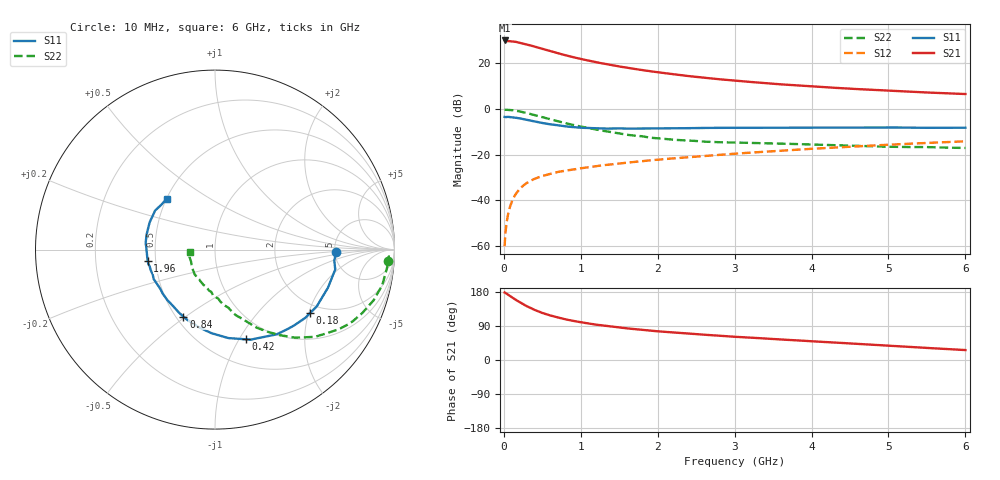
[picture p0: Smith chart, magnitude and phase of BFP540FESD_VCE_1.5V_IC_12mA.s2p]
! Infineon Technologies  Discrete & RF Semiconductors
! BFP540FESD
! VCE =  1.5 V,  IC =  12 mA
! Common Emitter S-Parameters:  Nov 2015
# GHz  S  MA  R  50
!  f  S11  S21  S12  S22
! GHz  MAG  ANG  MAG  ANG  MAG  ANG  MAG  ANG
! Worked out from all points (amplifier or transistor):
!   210 points, 10 MHz to 6 GHz, reference 50 ohm
!   highest |S21| = 30.1 dB at 10 MHz (marker M1)
!   |S21| within 3 dB of that: start of sweep to 431.5 MHz
!   unconditionally stable (mu >= 1): 2.051 GHz to end of sweep
!   at 185 MHz: K = 0.18, MSG = 32.5 dB, |S12| = -35.9 dB
!   at 1.52 GHz: K = 0.88, MSG = 21.2 dB, |S12| = -23.8 dB
!   at 6 GHz: K = 1.20, MAG = 7.6 dB, |S12| = -14.1 dB
!   S11 on the Smith chart (normalised r, x): 10 MHz: 5.16, -0.25; 180 MHz: 1.71, -2.04; 420 MHz: 0.77, -1.07; 840 MHz: 0.54, -0.49; 1.96 GHz: 0.45, -0.06; 6 GHz: 0.50, +0.34
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0.01  0.6759 -1.1  31.83 178.1  0.001 101.9  0.9677 -3.8
0.02  0.6674 -5.2  30.82 177.2  0.0019 85.1  0.9694 -2.2
0.05  0.679 -9.4  30.98 173.2  0.0045 83.6  0.9641 -5.9
0.1  0.6641 -18.7  30.4 166.2  0.0091 83.6  0.9527 -12.0
0.15  0.6493 -29.1  29.8 159.5  0.0134 79.0  0.9273 -17.8
0.18  0.6368 -33.8  29.02 155.7  0.0157 76.2  0.9061 -21.1
0.24  0.6107 -43.7  27.56 148.5  0.0203 71.8  0.8657 -27.4
0.3  0.5842 -53.9  26.06 141.7  0.0243 69.5  0.8189 -32.9
0.42  0.5293 -70.8  22.83 130.7  0.0307 62.6  0.7246 -42.2
0.5  0.4986 -81.4  20.9 124.2  0.0344 60.5  0.6633 -47.7
0.6  0.4662 -92.4  18.58 117.7  0.0379 57.8  0.5971 -52.9
0.7  0.4412 -102.1  16.75 112.3  0.042 56.9  0.5432 -57.4
0.84  0.4125 -115.3  14.54 105.8  0.046 55.0  0.4753 -63.2
1.02  0.3903 -128.0  12.33 99.0  0.0512 53.7  0.4091 -69.1
1.2  0.3807 -140.0  10.62 93.3  0.0564 53.6  0.358 -74.8
1.42  0.376 -150.7  9.079 87.6  0.0624 53.2  0.3084 -81.5
1.96  0.3799 -170.7  6.55 76.5  0.077 52.1  0.2331 -96.9
2.02  0.3801 -172.9  6.348 75.4  0.0785 51.9  0.2289 -98.7
3.1  0.3902 166.5  4.067 60.2  0.1084 48.8  0.1839 -123.1
4.1  0.3943 155.8  3.07 48.3  0.1382 44.5  0.1661 -138.6
5.1  0.396 145.5  2.492 36.6  0.1692 37.8  0.149 -154.4
6  0.3915 133.5  2.138 26.2  0.1972 31.2  0.141 -174.0
